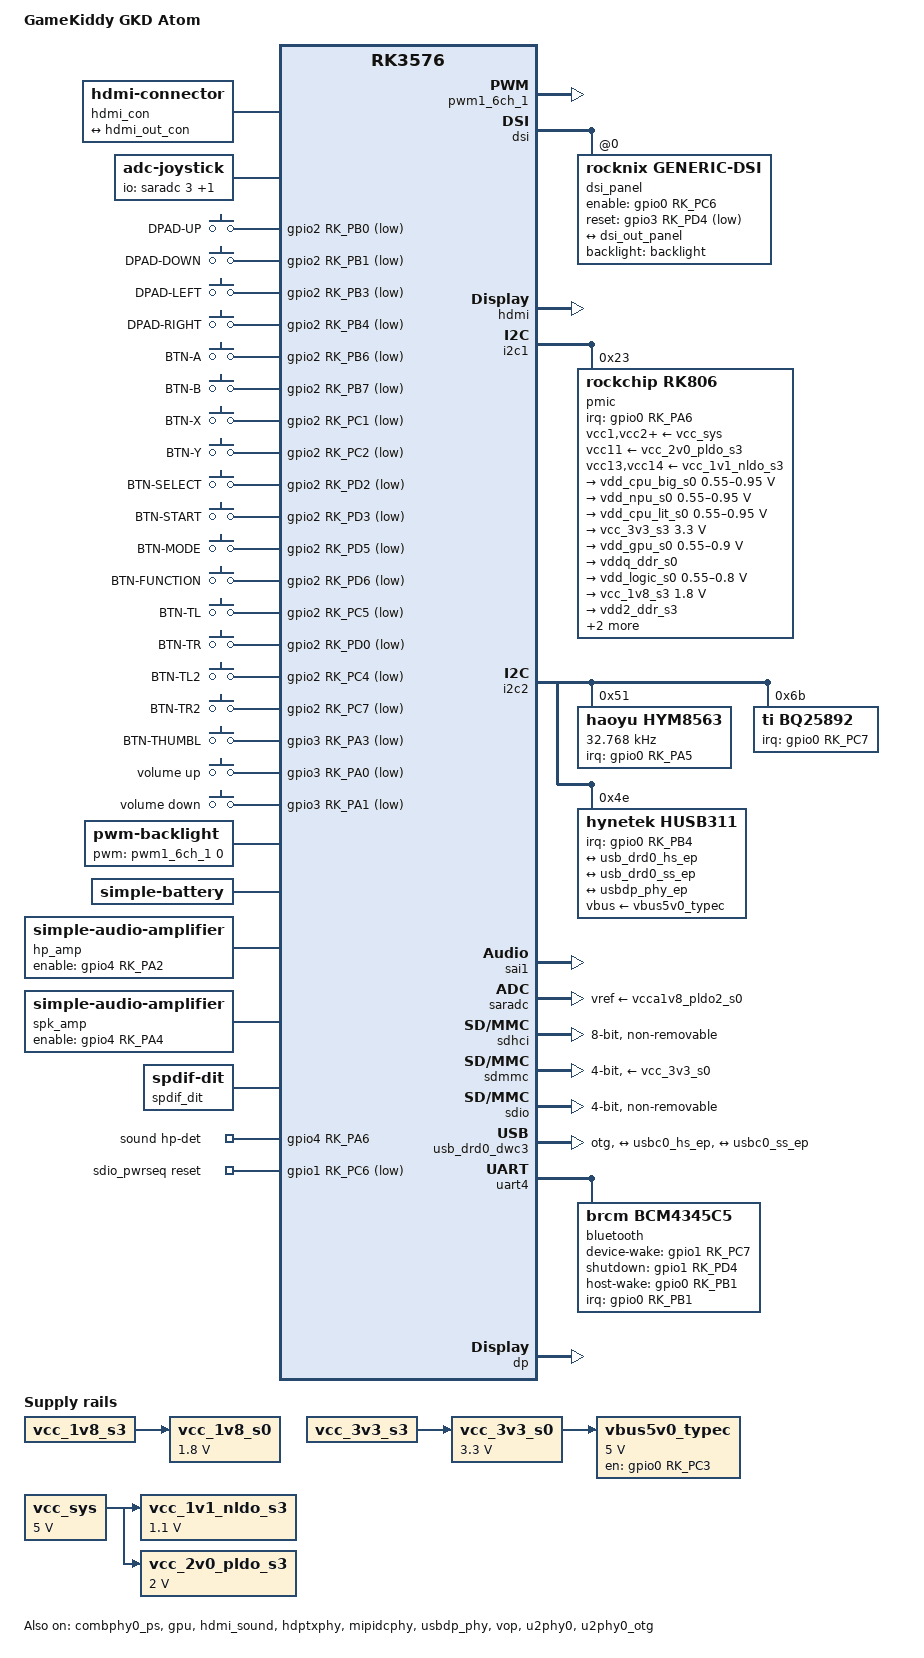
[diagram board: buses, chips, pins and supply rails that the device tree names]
// SPDX-License-Identifier: (GPL-2.0+ OR MIT)
/*
 * Copyright (c) 2026 ROCKNIX community port
 *
 * GameKiddy GKD Atom (a.k.a. GKD 350H Ultra) handheld.
 *
 * Hardware summary (extracted from the vendor 6.1 BSP DTB running on the
 * device, cross-checked with live /proc/device-tree and dmesg):
 *  - SoC: RK3576S, 2GB LPDDR4X, 8/128GB eMMC (sdhci, hs400es) + SD slot
 *  - Panel: 1440x1600 4-lane DSI panel on VP1, rotated 270 degrees
 *  - WiFi/BT: Ampak AP6256 (BCM43456, SDIO + UART4 w/ H4-BCM)
 *  - Audio: ESS ES9018K2M I2S DAC on SAI1, GPIO-controlled HP/SPK amps
 *  - Battery: 5000mAh (4.4V), TI bq25892 charger, SH366103 fuel gauge
 *            (fuel gauge driver is not in mainline yet, node left as
 *            placeholder comment)
 *  - USB-C with DP alt mode via HUSB311 TCPM + usbdp phy
 *  - Input: SARADC stick (channels 3/4) + GPIO buttons + gpio-keys volume
 */

/dts-v1/;

#include <dt-bindings/gpio/gpio.h>
#include <dt-bindings/input/linux-event-codes.h>
#include <dt-bindings/pinctrl/rockchip.h>
#include <dt-bindings/pwm/pwm.h>
#include <dt-bindings/soc/rockchip,vop2.h>
#include <dt-bindings/usb/pd.h>

#include "rk3576.dtsi"

/ {
	model = "GameKiddy GKD Atom";
	compatible = "gamekiddy,gkd-atom", "rockchip,rk3576";

	aliases {
		mmc0 = &sdhci;
		mmc1 = &sdmmc;
		mmc2 = &sdio;
	};

	chosen {
		stdout-path = "serial0:1500000n8";
	};

	/* Consider moving to a patch for other RK3576 devices */
	reserved-memory {
		#address-cells = <2>;
		#size-cells = <2>;
		ranges;

		linux,cma {
			compatible = "shared-dma-pool";
			reusable;
			size = <0x0 0x10000000>;
			alignment = <0x0 0x400000>;
			linux,cma-default;
		};
	};

	hdmi_con: hdmi-connector {
		compatible = "hdmi-connector";
		type = "c";

		port {
			hdmi_con_in: endpoint {
				remote-endpoint = <&hdmi_out_con>;
			};
		};
	};

	/*
	 * Single analog stick wired to SARADC channels 3 (X) and 4 (Y).
	 * Buttons are on plain GPIOs (gamepad_keys below); inputplumber
	 * merges both evdev devices into the composite gamepad.
	 */
	joystick: adc-joystick {
		compatible = "adc-joystick";
		io-channels = <&saradc 3>, <&saradc 4>;
		poll-interval = <10>;
		#address-cells = <1>;
		#size-cells = <0>;

		axis@0 {
			reg = <0>;
			linux,abs-code = <ABS_X>;
			abs-range = <1023>;
			abs-fuzz = <16>;
			abs-flat = <32>;
		};

		axis@1 {
			reg = <1>;
			linux,abs-code = <ABS_Y>;
			abs-range = <1023>;
			abs-fuzz = <16>;
			abs-flat = <32>;
		};
	};

	gamepad_keys: gamepad-keys {
		compatible = "gpio-keys";
		pinctrl-names = "default";
		pinctrl-0 = <&button_pins>;

		button-dpad-up {
			label = "DPAD-UP";
			gpios = <&gpio2 RK_PB0 GPIO_ACTIVE_LOW>;
			linux,code = <BTN_DPAD_UP>;
		};
		button-dpad-down {
			label = "DPAD-DOWN";
			gpios = <&gpio2 RK_PB1 GPIO_ACTIVE_LOW>;
			linux,code = <BTN_DPAD_DOWN>;
		};
		button-dpad-left {
			label = "DPAD-LEFT";
			gpios = <&gpio2 RK_PB3 GPIO_ACTIVE_LOW>;
			linux,code = <BTN_DPAD_LEFT>;
		};
		button-dpad-right {
			label = "DPAD-RIGHT";
			gpios = <&gpio2 RK_PB4 GPIO_ACTIVE_LOW>;
			linux,code = <BTN_DPAD_RIGHT>;
		};
		button-a {
			label = "BTN-A";
			gpios = <&gpio2 RK_PB6 GPIO_ACTIVE_LOW>;
			linux,code = <BTN_EAST>;
		};
		button-b {
			label = "BTN-B";
			gpios = <&gpio2 RK_PB7 GPIO_ACTIVE_LOW>;
			linux,code = <BTN_SOUTH>;
		};
		button-x {
			label = "BTN-X";
			gpios = <&gpio2 RK_PC1 GPIO_ACTIVE_LOW>;
			linux,code = <BTN_NORTH>;
		};
		button-y {
			label = "BTN-Y";
			gpios = <&gpio2 RK_PC2 GPIO_ACTIVE_LOW>;
			linux,code = <BTN_WEST>;
		};
		button-select {
			label = "BTN-SELECT";
			gpios = <&gpio2 RK_PD2 GPIO_ACTIVE_LOW>;
			linux,code = <BTN_SELECT>;
		};
		button-start {
			label = "BTN-START";
			gpios = <&gpio2 RK_PD3 GPIO_ACTIVE_LOW>;
			linux,code = <BTN_START>;
		};
		button-mode {
			label = "BTN-MODE";
			gpios = <&gpio2 RK_PD5 GPIO_ACTIVE_LOW>;
			linux,code = <BTN_MODE>;
		};
		button-function {
			label = "BTN-FUNCTION";
			gpios = <&gpio2 RK_PD6 GPIO_ACTIVE_LOW>;
			linux,code = <BTN_TRIGGER_HAPPY1>;
		};
		button-l1 {
			label = "BTN-TL";
			gpios = <&gpio2 RK_PC5 GPIO_ACTIVE_LOW>;
			linux,code = <BTN_TL>;
		};
		button-r1 {
			label = "BTN-TR";
			gpios = <&gpio2 RK_PD0 GPIO_ACTIVE_LOW>;
			linux,code = <BTN_TR>;
		};
		button-l2 {
			label = "BTN-TL2";
			gpios = <&gpio2 RK_PC4 GPIO_ACTIVE_LOW>;
			linux,code = <BTN_TL2>;
		};
		button-r2 {
			label = "BTN-TR2";
			gpios = <&gpio2 RK_PC7 GPIO_ACTIVE_LOW>;
			linux,code = <BTN_TR2>;
		};
		button-thumbl {
			label = "BTN-THUMBL";
			gpios = <&gpio3 RK_PA3 GPIO_ACTIVE_LOW>;
			linux,code = <BTN_THUMBL>;
		};
	};

	gpio_keys: gpio-keys {
		compatible = "gpio-keys";
		pinctrl-names = "default";
		pinctrl-0 = <&vol_keys>;

		vol-up-key {
			debounce-interval = <2>;
			gpios = <&gpio3 RK_PA0 GPIO_ACTIVE_LOW>;
			label = "volume up";
			linux,code = <KEY_VOLUMEUP>;
		};

		vol-down-key {
			debounce-interval = <2>;
			gpios = <&gpio3 RK_PA1 GPIO_ACTIVE_LOW>;
			label = "volume down";
			linux,code = <KEY_VOLUMEDOWN>;
		};
	};

	pwm1_6ch_1: pwm@2add1000 {
		compatible = "rockchip,rk3576-pwm";
		reg = <0x0 0x2add1000 0x0 0x1000>;
		interrupts = <GIC_SPI 103 IRQ_TYPE_LEVEL_HIGH>;
		#pwm-cells = <3>;
		pinctrl-names = "default";
		pinctrl-0 = <&pwm1m0_ch1>;
		clocks = <&cru CLK_PWM1>, <&cru PCLK_PWM1>,
			 <&cru CLK_OSC_PWM1>, <&cru CLK_RC_PWM1>;
		clock-names = "pwm", "pclk", "osc", "rc";
		status = "okay";
	};

	backlight: backlight {
		compatible = "pwm-backlight";
		pwms = <&pwm1_6ch_1 0 25000 PWM_POLARITY_INVERTED>;
		brightness-levels = <
			  0  40  40  40  40  40  40  40  40  40  40  40  40  40  40  40
			 40  40  40  40  40  40  40  40  40  40  40  40  40  40  40  40
			 40  40  40  40  40  40  40  40  40  41  42  43  44  45  46  47
			 48  49  50  51  52  53  54  55  56  57  58  59  60  61  62  63
			 64  65  66  67  68  69  70  71  72  73  74  75  76  77  78  79
			 80  81  82  83  84  85  86  87  88  89  90  91  92  93  94  95
			 96  97  98  99 100 101 102 103 104 105 106 107 108 109 110 111
			112 113 114 115 116 117 118 119 120 121 122 123 124 125 126 127
			128 129 130 131 132 133 134 135 136 137 138 139 140 141 142 143
			144 145 146 147 148 149 150 151 152 153 154 155 156 157 158 159
			160 161 162 163 164 165 166 167 168 169 170 171 172 173 174 175
			176 177 178 179 180 181 182 183 184 185 186 187 188 189 190 191
			192 193 194 195 196 197 198 199 200 201 202 203 204 205 206 207
			208 209 210 211 212 213 214 215 216 217 218 219 220 221 222 223
			224 225 226 227 228 229 230 231 232 233 234 235 236 237 238 239
			240 241 242 243 244 245 246 247 248 249 250 251 252 253 254 255
		>;
		default-brightness-level = <190>;
	};

	battery: battery {
		compatible = "simple-battery";
		charge-full-design-microamp-hours = <5000000>;
		charge-term-current-microamp = <66000>;
		constant-charge-current-max-microamp = <3100000>;
		constant-charge-voltage-max-microvolt = <4400000>;
		precharge-current-microamp = <130000>;
		precharge-upper-limit-microvolt = <3000000>;
		voltage-max-design-microvolt = <4400000>;
		voltage-min-design-microvolt = <3000000>;
	};

	hp_amp: audio-amplifier-headphone {
		compatible = "simple-audio-amplifier";
		enable-gpios = <&gpio4 RK_PA2 GPIO_ACTIVE_HIGH>;
		pinctrl-names = "default";
		pinctrl-0 = <&hp_amp_enable>;
		sound-name-prefix = "Headphone Amp";
	};

	spk_amp: audio-amplifier-speaker {
		compatible = "simple-audio-amplifier";
		enable-gpios = <&gpio4 RK_PA4 GPIO_ACTIVE_HIGH>;
		pinctrl-names = "default";
		pinctrl-0 = <&spk_amp_enable>;
		sound-name-prefix = "Speaker Amp";
	};

	/* ESS ES9018K2M is control-less in this design (no kernel codec
	 * driver in mainline); drive the I2S link with the dummy DAI and
	 * handle amp enables / headphone detect at the card level. */
	spdif_dit: audio-codec-dit {
		compatible = "linux,spdif-dit";
		#sound-dai-cells = <0>;
	};

	sound: sound {
		compatible = "simple-audio-card";
		pinctrl-names = "default";
		pinctrl-0 = <&hp_det>;
		simple-audio-card,aux-devs = <&spk_amp>, <&hp_amp>;
		simple-audio-card,format = "i2s";
		simple-audio-card,hp-det-gpios = <&gpio4 RK_PA6 GPIO_ACTIVE_HIGH>;
		simple-audio-card,mclk-fs = <256>;
		simple-audio-card,name = "es9018k2m";
		simple-audio-card,pin-switches = "Headphones", "Internal Speakers";
		simple-audio-card,routing =
			"Headphones", "Headphone Amp OUTL",
			"Headphones", "Headphone Amp OUTR",
			"Headphone Amp INL", "OUT",
			"Headphone Amp INR", "OUT",
			"Internal Speakers", "Speaker Amp OUTL",
			"Internal Speakers", "Speaker Amp OUTR",
			"Speaker Amp INL", "OUT",
			"Speaker Amp INR", "OUT";
		simple-audio-card,widgets =
			"Headphone", "Headphones",
			"Speaker", "Internal Speakers";
		status = "okay";

		simple-audio-card,codec {
			sound-dai = <&spdif_dit>;
		};

		simple-audio-card,cpu {
			sound-dai = <&sai1>;
		};
	};

	vcc_sys: regulator-vcc-sys {
		compatible = "regulator-fixed";
		regulator-name = "vcc_sys";
		regulator-always-on;
		regulator-boot-on;
		regulator-min-microvolt = <5000000>;
		regulator-max-microvolt = <5000000>;
	};

	vcc_1v1_nldo_s3: regulator-vcc-1v1-nldo-s3 {
		compatible = "regulator-fixed";
		regulator-always-on;
		regulator-boot-on;
		regulator-max-microvolt = <1100000>;
		regulator-min-microvolt = <1100000>;
		regulator-name = "vcc_1v1_nldo_s3";
		vin-supply = <&vcc_sys>;
	};

	vcc_1v8_s0: vcc-1v8-s0 {
		compatible = "regulator-fixed";
		regulator-name = "vcc_1v8_s0";
		regulator-boot-on;
		regulator-always-on;
		regulator-min-microvolt = <1800000>;
		regulator-max-microvolt = <1800000>;
		vin-supply = <&vcc_1v8_s3>;
	};

	vcc_2v0_pldo_s3: regulator-vcc-2v0-pldo-s3 {
		compatible = "regulator-fixed";
		regulator-always-on;
		regulator-boot-on;
		regulator-max-microvolt = <2000000>;
		regulator-min-microvolt = <2000000>;
		regulator-name = "vcc_2v0_pldo_s3";
		vin-supply = <&vcc_sys>;
	};

	vcc_3v3_s0: vcc-3v3-s0 {
		compatible = "regulator-fixed";
		regulator-name = "vcc_3v3_s0";
		regulator-boot-on;
		regulator-always-on;
		regulator-min-microvolt = <3300000>;
		regulator-max-microvolt = <3300000>;
		vin-supply = <&vcc_3v3_s3>;
	};

	vbus5v0_typec: regulator-vbus5v0-typec {
		compatible = "regulator-fixed";
		regulator-name = "vbus5v0_typec";
		enable-active-high;
		gpio = <&gpio0 RK_PC3 GPIO_ACTIVE_HIGH>;
		pinctrl-names = "default";
		pinctrl-0 = <&vbus_en>;
		regulator-max-microvolt = <5000000>;
		regulator-min-microvolt = <5000000>;
		vin-supply = <&vcc_3v3_s0>;
	};

	sdio_pwrseq: sdio-pwrseq {
		compatible = "mmc-pwrseq-simple";
		pinctrl-names = "default";
		pinctrl-0 = <&wifi_enable>;
		post-power-on-delay-ms = <200>;
		reset-gpios = <&gpio1 RK_PC6 GPIO_ACTIVE_LOW>;
	};
};

&combphy0_ps {
	status = "okay";
};

&cpu_b0 {
	cpu-supply = <&vdd_cpu_big_s0>;
};

&cpu_b1 {
	cpu-supply = <&vdd_cpu_big_s0>;
};

&cpu_b2 {
	cpu-supply = <&vdd_cpu_big_s0>;
};

&cpu_b3 {
	cpu-supply = <&vdd_cpu_big_s0>;
};

&cpu_l0 {
	cpu-supply = <&vdd_cpu_lit_s0>;
};

&cpu_l1 {
	cpu-supply = <&vdd_cpu_lit_s0>;
};

&cpu_l2 {
	cpu-supply = <&vdd_cpu_lit_s0>;
};

&cpu_l3 {
	cpu-supply = <&vdd_cpu_lit_s0>;
};

&dsi {
	status = "okay";
	#address-cells = <1>;
	#size-cells = <0>;

	dsi_panel: panel@0 {
		compatible = "rocknix,generic-dsi";
		reg = <0>;
		backlight = <&backlight>;
		enable-gpios = <&gpio0 RK_PC6 GPIO_ACTIVE_HIGH>;
		reset-gpios = <&gpio3 RK_PD4 GPIO_ACTIVE_LOW>;
		pinctrl-names = "default";
		rotation = <270>;

		panel_description =
			"G size=70,78 delays=40,60,80,60,20 format=rgb888 lanes=4 flags=0xe03",
			"M clock=172398 horizontal=1440,150,30,120 vertical=1600,30,10,10 default=1",
			"I seq=ff10",
			"I seq=fb01",
			"I seq=2a0000059f",
			"I seq=2b0000063f",
			"I seq=3500",
			"I seq=ba07",
			"I seq=bb13",
			"I seq=e500",
			"I seq=ff26",
			"I seq=fb01",
			"I seq=0200",
			"I seq=0380",
			"I seq=ff25",
			"I seq=fb01",
			"I seq=6260",
			"I seq=6500",
			"I seq=6607",
			"I seq=6756",
			"I seq=ffd0",
			"I seq=fb01",
			"I seq=0588",
			"I seq=ff10",
			"I seq=fb01",
			"I seq=c080",
			"I seq=be01900f",
			"I seq=11 wait=5",
			"I seq=ff10",
			"I seq=29 wait=40";

		port {
			panel_in_dsi: endpoint {
				remote-endpoint = <&dsi_out_panel>;
			};
		};
	};
};

&dsi_in {
	dsi_in_vp1: endpoint {
		remote-endpoint = <&vp1_out_dsi>;
	};
};

&dsi_out {
	dsi_out_panel: endpoint {
		remote-endpoint = <&panel_in_dsi>;
	};
};

&gpu {
	mali-supply = <&vdd_gpu_s0>;
	resets = <&cru SRST_GPU>;
	status = "okay";
};

&hdmi {
	status = "okay";
};

&hdmi_in {
	hdmi_in_vp0: endpoint {
		remote-endpoint = <&vp0_out_hdmi>;
	};
};

&hdmi_out {
	hdmi_out_con: endpoint {
		remote-endpoint = <&hdmi_con_in>;
	};
};

&hdmi_sound {
	status = "okay";
};

&hdptxphy {
	status = "okay";
};

&i2c1 {
	status = "okay";

	pmic@23 {
		compatible = "rockchip,rk806";
		reg = <0x23>;
		#gpio-cells = <2>;
		gpio-controller;
		interrupt-parent = <&gpio0>;
		interrupts = <RK_PA6 IRQ_TYPE_LEVEL_LOW>;
		pinctrl-names = "default";
		pinctrl-0 = <&pmic_pins
			     &rk806_dvs1_null
			     &rk806_dvs2_null
			     &rk806_dvs3_null>;
		system-power-controller;
		vcc1-supply = <&vcc_sys>;
		vcc2-supply = <&vcc_sys>;
		vcc3-supply = <&vcc_sys>;
		vcc4-supply = <&vcc_sys>;
		vcc5-supply = <&vcc_sys>;
		vcc6-supply = <&vcc_sys>;
		vcc7-supply = <&vcc_sys>;
		vcc8-supply = <&vcc_sys>;
		vcc9-supply = <&vcc_sys>;
		vcc10-supply = <&vcc_sys>;
		vcc11-supply = <&vcc_2v0_pldo_s3>;
		vcc12-supply = <&vcc_sys>;
		vcc13-supply = <&vcc_1v1_nldo_s3>;
		vcc14-supply = <&vcc_1v1_nldo_s3>;
		vcca-supply = <&vcc_sys>;

		rk806_dvs1_null: dvs1-null-pins {
			pins = "gpio_pwrctrl1";
			function = "pin_fun0";
		};

		rk806_dvs2_null: dvs2-null-pins {
			pins = "gpio_pwrctrl2";
			function = "pin_fun0";
		};

		rk806_dvs3_null: dvs3-null-pins {
			pins = "gpio_pwrctrl3";
			function = "pin_fun0";
		};

		regulators {
			vdd_cpu_big_s0: dcdc-reg1 {
				regulator-always-on;
				regulator-boot-on;
				regulator-enable-ramp-delay = <400>;
				regulator-min-microvolt = <550000>;
				regulator-max-microvolt = <950000>;
				regulator-name = "vdd_cpu_big_s0";
				regulator-ramp-delay = <12500>;
				regulator-state-mem {
					regulator-off-in-suspend;
				};
			};

			vdd_npu_s0: dcdc-reg2 {
				regulator-boot-on;
				regulator-enable-ramp-delay = <400>;
				regulator-min-microvolt = <550000>;
				regulator-max-microvolt = <950000>;
				regulator-name = "vdd_npu_s0";
				regulator-ramp-delay = <12500>;
				regulator-state-mem {
					regulator-off-in-suspend;
				};
			};

			vdd_cpu_lit_s0: dcdc-reg3 {
				regulator-always-on;
				regulator-boot-on;
				regulator-min-microvolt = <550000>;
				regulator-max-microvolt = <950000>;
				regulator-name = "vdd_cpu_lit_s0";
				regulator-ramp-delay = <12500>;
				regulator-state-mem {
					regulator-off-in-suspend;
					regulator-suspend-microvolt = <750000>;
				};
			};

			vcc_3v3_s3: dcdc-reg4 {
				regulator-always-on;
				regulator-boot-on;
				regulator-min-microvolt = <3300000>;
				regulator-max-microvolt = <3300000>;
				regulator-name = "vcc_3v3_s3";
				regulator-state-mem {
					regulator-on-in-suspend;
					regulator-suspend-microvolt = <3300000>;
				};
			};

			vdd_gpu_s0: dcdc-reg5 {
				regulator-boot-on;
				regulator-always-on;
				regulator-enable-ramp-delay = <400>;
				regulator-min-microvolt = <550000>;
				regulator-max-microvolt = <900000>;
				regulator-name = "vdd_gpu_s0";
				regulator-ramp-delay = <12500>;
				regulator-state-mem {
					regulator-off-in-suspend;
					regulator-suspend-microvolt = <850000>;
				};
			};

			vddq_ddr_s0: dcdc-reg6 {
				regulator-always-on;
				regulator-boot-on;
				regulator-name = "vddq_ddr_s0";
				regulator-state-mem {
					regulator-off-in-suspend;
				};
			};

			vdd_logic_s0: dcdc-reg7 {
				regulator-always-on;
				regulator-boot-on;
				regulator-min-microvolt = <550000>;
				regulator-max-microvolt = <800000>;
				regulator-name = "vdd_logic_s0";
				regulator-state-mem {
					regulator-off-in-suspend;
				};
			};

			vcc_1v8_s3: dcdc-reg8 {
				regulator-always-on;
				regulator-boot-on;
				regulator-min-microvolt = <1800000>;
				regulator-max-microvolt = <1800000>;
				regulator-name = "vcc_1v8_s3";
				regulator-state-mem {
					regulator-on-in-suspend;
					regulator-suspend-microvolt = <1800000>;
				};
			};

			vdd2_ddr_s3: dcdc-reg9 {
				regulator-always-on;
				regulator-boot-on;
				regulator-name = "vdd2_ddr_s3";
				regulator-state-mem {
					regulator-on-in-suspend;
				};
			};

			vdd_ddr_s0: dcdc-reg10 {
				regulator-always-on;
				regulator-boot-on;
				regulator-min-microvolt = <550000>;
				regulator-max-microvolt = <1200000>;
				regulator-name = "vdd_ddr_s0";
				regulator-state-mem {
					regulator-off-in-suspend;
				};
			};

			vcca_1v8_s0: pldo-reg1 {
				regulator-always-on;
				regulator-boot-on;
				regulator-min-microvolt = <1800000>;
				regulator-max-microvolt = <1800000>;
				regulator-name = "vcca_1v8_s0";
				regulator-state-mem {
					regulator-off-in-suspend;
				};
			};

			vcca1v8_pldo2_s0: pldo-reg2 {
				regulator-always-on;
				regulator-boot-on;
				regulator-min-microvolt = <1800000>;
				regulator-max-microvolt = <1800000>;
				regulator-name = "vcca1v8_pldo2_s0";
				regulator-state-mem {
					regulator-off-in-suspend;
				};
			};

			vdda_1v2_s0: pldo-reg3 {
				regulator-always-on;
				regulator-boot-on;
				regulator-min-microvolt = <1200000>;
				regulator-max-microvolt = <1200000>;
				regulator-name = "vdda_1v2_s0";
				regulator-state-mem {
					regulator-off-in-suspend;
				};
			};

			vcca3v3_codec: pldo-reg4 {
				regulator-always-on;
				regulator-boot-on;
				regulator-min-microvolt = <3300000>;
				regulator-max-microvolt = <3300000>;
				regulator-name = "vcca3v3_codec";
				regulator-state-mem {
					regulator-off-in-suspend;
				};
			};

			vccio_sd_s0: pldo-reg5 {
				regulator-always-on;
				regulator-boot-on;
				regulator-min-microvolt = <1800000>;
				regulator-max-microvolt = <3300000>;
				regulator-name = "vccio_sd_s0";
				regulator-state-mem {
					regulator-on-in-suspend;
				};
			};

			vcca1v8_pldo6_s3: pldo-reg6 {
				regulator-always-on;
				regulator-boot-on;
				regulator-min-microvolt = <1800000>;
				regulator-max-microvolt = <1800000>;
				regulator-name = "vcca1v8_pldo6_s3";
				regulator-state-mem {
					regulator-on-in-suspend;
					regulator-suspend-microvolt = <1800000>;
				};
			};

			vdd_0v75_s3: nldo-reg1 {
				regulator-always-on;
				regulator-boot-on;
				regulator-min-microvolt = <750000>;
				regulator-max-microvolt = <750000>;
				regulator-name = "vdd_0v75_s3";
				regulator-state-mem {
					regulator-on-in-suspend;
					regulator-suspend-microvolt = <750000>;
				};
			};

			vdda_ddr_pll_s0: nldo-reg2 {
				regulator-always-on;
				regulator-boot-on;
				regulator-min-microvolt = <850000>;
				regulator-max-microvolt = <850000>;
				regulator-name = "vdda_ddr_pll_s0";
				regulator-state-mem {
					regulator-off-in-suspend;
				};
			};

			vdda0v75_hdmi_s0: nldo-reg3 {
				regulator-always-on;
				regulator-boot-on;
				regulator-min-microvolt = <750000>;
				regulator-max-microvolt = <750000>;
				regulator-name = "vdda0v75_hdmi_s0";
				regulator-state-mem {
					regulator-off-in-suspend;
				};
			};

			vdda_0v85_s0: nldo-reg4 {
				regulator-always-on;
				regulator-boot-on;
				regulator-min-microvolt = <850000>;
				regulator-max-microvolt = <850000>;
				regulator-name = "vdda_0v85_s0";
				regulator-state-mem {
					regulator-off-in-suspend;
				};
			};

			vdda_0v75_s0: nldo-reg5 {
				regulator-always-on;
				regulator-boot-on;
				regulator-min-microvolt = <750000>;
				regulator-max-microvolt = <750000>;
				regulator-name = "vdda_0v75_s0";
				regulator-state-mem {
					regulator-off-in-suspend;
				};
			};
		};
	};
};

&i2c2 {
	pinctrl-names = "default";
	status = "okay";

	hym8563: rtc@51 {
		compatible = "haoyu,hym8563";
		reg = <0x51>;
		#clock-cells = <0>;
		clock-output-names = "hym8563";
		clock-frequency = <32768>;
		interrupt-parent = <&gpio0>;
		interrupts = <RK_PA5 IRQ_TYPE_LEVEL_LOW>;
		pinctrl-names = "default";
		pinctrl-0 = <&hym8563_int>;
		wakeup-source;
	};

	/* SH366103 fuel gauge at 0x55 - vendor driver not in mainline,
	 * battery reporting currently limited to charger status. */

	bq25892: charger@6b {
		compatible = "ti,bq25892";
		reg = <0x6b>;
		interrupt-parent = <&gpio0>;
		interrupts = <RK_PC7 IRQ_TYPE_EDGE_FALLING>;
		pinctrl-names = "default";
		pinctrl-0 = <&charger_int>;
		ti,battery-regulation-voltage = <4400000>;
		ti,charge-current = <3100000>;
		ti,termination-current = <66000>;
		ti,precharge-current = <130000>;
		ti,minimum-sys-voltage = <3500000>;
		ti,boost-voltage = <5200000>;
		ti,boost-max-current = <1600000>;
		monitored-battery = <&battery>;
	};

	husb311: typec-portc@4e {
		compatible = "hynetek,husb311";
		reg = <0x4e>;
		interrupt-parent = <&gpio0>;
		interrupts = <RK_PB4 IRQ_TYPE_LEVEL_LOW>;
		pinctrl-names = "default";
		pinctrl-0 = <&usbc_int>;
		vbus-supply = <&vbus5v0_typec>;

		connector {
			compatible = "usb-c-connector";
			label = "USB-C";
			data-role = "dual";
			op-sink-microwatt = <1000000>;
			power-role = "dual";
			try-power-role = "sink";

			sink-pdos = <PDO_FIXED(5000, 3000, PDO_FIXED_USB_COMM)
				     PDO_FIXED(9000, 3000, PDO_FIXED_USB_COMM)
				     PDO_FIXED(12000, 3000, PDO_FIXED_USB_COMM)>;
			source-pdos = <PDO_FIXED(5000, 3000, PDO_FIXED_USB_COMM)>;

			altmodes {
				displayport {
					svid = /bits/ 16 <0xff01>;
					vdo = <0xffffffff>;
				};
			};

			ports {
				#address-cells = <1>;
				#size-cells = <0>;

				port@0 {
					reg = <0>;
					usbc0_hs_ep: endpoint {
						remote-endpoint = <&usb_drd0_hs_ep>;
					};
				};
				port@1 {
					reg = <1>;
					usbc0_ss_ep: endpoint {
						remote-endpoint = <&usb_drd0_ss_ep>;
					};
				};
				port@2 {
					reg = <2>;
					usbc0_dp_ep: endpoint {
						remote-endpoint = <&usbdp_phy_ep>;
					};
				};
			};
		};
	};
};

&mipidcphy {
	status = "okay";
};

&pinctrl {
	audio {
		hp_det: hp-det {
			rockchip,pins = <4 RK_PA6 RK_FUNC_GPIO &pcfg_pull_up>;
		};

		hp_amp_enable: hp-amp-enable {
			rockchip,pins = <4 RK_PA2 RK_FUNC_GPIO &pcfg_pull_none>;
		};

		spk_amp_enable: spk-amp-enable {
			rockchip,pins = <4 RK_PA4 RK_FUNC_GPIO &pcfg_pull_none>;
		};
	};

	buttons {
		button_pins: button-pins {
			rockchip,pins =
				<2 RK_PB0 RK_FUNC_GPIO &pcfg_pull_up>,
				<2 RK_PB1 RK_FUNC_GPIO &pcfg_pull_up>,
				<2 RK_PB3 RK_FUNC_GPIO &pcfg_pull_up>,
				<2 RK_PB4 RK_FUNC_GPIO &pcfg_pull_up>,
				<2 RK_PB6 RK_FUNC_GPIO &pcfg_pull_up>,
				<2 RK_PB7 RK_FUNC_GPIO &pcfg_pull_up>,
				<2 RK_PC1 RK_FUNC_GPIO &pcfg_pull_up>,
				<2 RK_PC2 RK_FUNC_GPIO &pcfg_pull_up>,
				<2 RK_PC4 RK_FUNC_GPIO &pcfg_pull_up>,
				<2 RK_PC5 RK_FUNC_GPIO &pcfg_pull_up>,
				<2 RK_PC7 RK_FUNC_GPIO &pcfg_pull_up>,
				<2 RK_PD0 RK_FUNC_GPIO &pcfg_pull_up>,
				<2 RK_PD2 RK_FUNC_GPIO &pcfg_pull_up>,
				<2 RK_PD3 RK_FUNC_GPIO &pcfg_pull_up>,
				<2 RK_PD5 RK_FUNC_GPIO &pcfg_pull_up>,
				<2 RK_PD6 RK_FUNC_GPIO &pcfg_pull_up>,
				<3 RK_PA3 RK_FUNC_GPIO &pcfg_pull_up>;
		};
	};

	charger {
		charger_int: charger-int {
			rockchip,pins = <0 RK_PC7 RK_FUNC_GPIO &pcfg_pull_up>;
		};
	};

	rtc {
		hym8563_int: hym8563-int {
			rockchip,pins = <0 RK_PA5 RK_FUNC_GPIO &pcfg_pull_up>;
		};
	};

	wifi {
		wifi_enable: wifi-enable {
			rockchip,pins = <1 RK_PC6 RK_FUNC_GPIO &pcfg_pull_none>;
		};
	};

	usb {
		usbc_int: usbc-int {
			rockchip,pins = <0 RK_PB4 RK_FUNC_GPIO &pcfg_pull_up>;
		};

		vbus_en: vbus-en {
			rockchip,pins = <0 RK_PC3 RK_FUNC_GPIO &pcfg_pull_none>;
		};
	};

	volume-keys {
		vol_keys: vol-keys {
			rockchip,pins =
				<3 RK_PA0 RK_FUNC_GPIO &pcfg_pull_up>,
				<3 RK_PA1 RK_FUNC_GPIO &pcfg_pull_up>;
		};
	};
};

&sai1 {
	pinctrl-0 = <&sai1m1_lrck
		     &sai1m1_sclk
		     &sai1m1_mclk
		     &sai1m1_sdo0>;
	pinctrl-names = "default";
	assigned-clocks = <&cru CLK_SAI1_MCLKOUT_TO_IO>;
	assigned-clock-rates = <12288000>;
	status = "okay";
};

&saradc {
	vref-supply = <&vcca1v8_pldo2_s0>;
	status = "okay";
};

&sdhci {
	bus-width = <8>;
	full-pwr-cycle-in-suspend;
	no-sd;
	no-sdio;
	non-removable;
	mmc-hs400-1_8v;
	mmc-hs400-enhanced-strobe;
	status = "okay";
};

&sdmmc {
	bus-width = <4>;
	cap-mmc-highspeed;
	cap-sd-highspeed;
	disable-wp;
	max-frequency = <150000000>;
	no-sdio;
	no-mmc;
	sd-uhs-sdr50;
	sd-uhs-sdr104;
	vmmc-supply = <&vcc_3v3_s0>;
	vqmmc-supply = <&vccio_sd_s0>;
	status = "okay";
};

&sdio {
	bus-width = <4>;
	cap-sdio-irq;
	disable-wp;
	keep-power-in-suspend;
	max-frequency = <150000000>;
	mmc-pwrseq = <&sdio_pwrseq>;
	non-removable;
	sd-uhs-sdr50;
	status = "okay";
};

&usb_drd0_dwc3 {
	usb-role-switch;
	dr_mode = "otg";
	status = "okay";

	ports {
		#address-cells = <1>;
		#size-cells = <0>;

		port@0 {
			reg = <0>;
			usb_drd0_hs_ep: endpoint {
				remote-endpoint = <&usbc0_hs_ep>;
			};
		};

		port@1 {
			reg = <1>;
			usb_drd0_ss_ep: endpoint {
				remote-endpoint = <&usbc0_ss_ep>;
			};
		};
	};
};

&uart4 {
	pinctrl-0 = <&uart4m1_xfer>, <&uart4m1_ctsn>, <&uart4m1_rtsn>;
	pinctrl-names = "default";
	uart-has-rtscts;
	status = "okay";

	bluetooth {
		compatible = "brcm,bcm4345c5";
		device-wake-gpios = <&gpio1 RK_PC7 GPIO_ACTIVE_HIGH>;
		shutdown-gpios = <&gpio1 RK_PD4 GPIO_ACTIVE_HIGH>;
		host-wake-gpios = <&gpio0 RK_PB1 GPIO_ACTIVE_HIGH>;
		interrupt-parent = <&gpio0>;
		interrupts = <RK_PB1 IRQ_TYPE_LEVEL_LOW>;
	};
};

&usbdp_phy {
	mode-switch;
	orientation-switch;
	status = "okay";

	port {
		usbdp_phy_ep: endpoint {
			remote-endpoint = <&usbc0_dp_ep>;
		};
	};
};

&vop {
	assigned-clocks = <&cru PLL_VPLL>, <&cru DCLK_VP1_SRC>;
	assigned-clock-parents = <0>, <&cru PLL_VPLL>;
	assigned-clock-rates = <1824000000>, <0>;
	status = "okay";
};

&vop_mmu {
	status = "okay";
};

&vp0 {
	vp0_out_hdmi: endpoint@ROCKCHIP_VOP2_EP_HDMI0 {
		reg = <ROCKCHIP_VOP2_EP_HDMI0>;
		remote-endpoint = <&hdmi_in_vp0>;
	};
};

&vp1 {
	vp1_out_dsi: endpoint@ROCKCHIP_VOP2_EP_MIPI0 {
		reg = <ROCKCHIP_VOP2_EP_MIPI0>;
		remote-endpoint = <&dsi_in_vp1>;
	};
};

&vp2 {
	vp2_out_dp0: endpoint@ROCKCHIP_VOP2_EP_DP0 {
		reg = <ROCKCHIP_VOP2_EP_DP0>;
		remote-endpoint = <&dp0_in_vp2>;
	};
};

&dp {
	status = "okay";
};

&dp0_in {
	dp0_in_vp2: endpoint {
		remote-endpoint = <&vp2_out_dp0>;
	};
};

&u2phy0 {
	status = "okay";
};

&u2phy0_otg {
	status = "okay";
};
